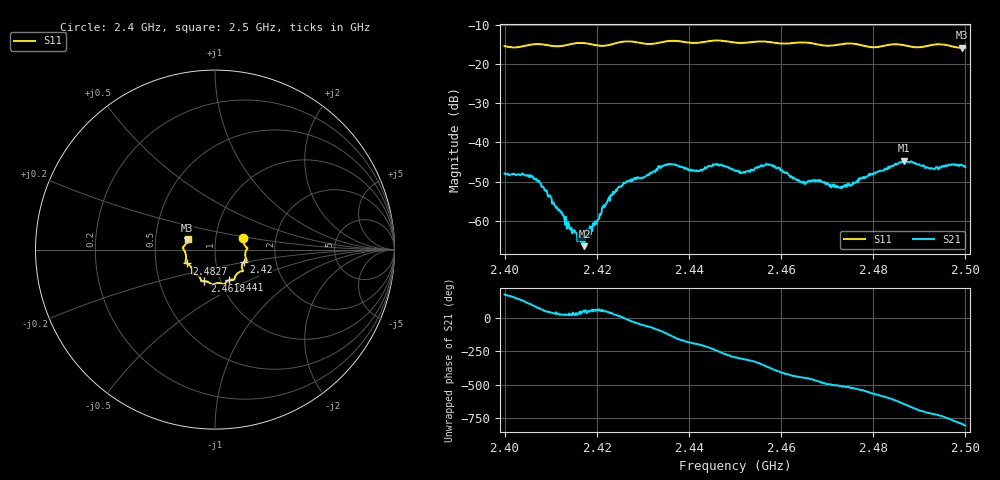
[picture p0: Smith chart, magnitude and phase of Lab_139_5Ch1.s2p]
# Hz S RI R 50
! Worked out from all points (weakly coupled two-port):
!   601 points, 2.4 GHz to 2.5 GHz, reference 50 ohm
!   highest |S21| = -44.67 dB at 2.4867 GHz (marker M1); lowest = -66.5 dB at 2.4173 GHz (marker M2)
!   lowest |S11| = -15.8 dB at 2.4993 GHz (marker M3), VSWR 1.39, Z = 36.5 + j3.84 ohm
!   |S11| at or under -10 dB: start of sweep to end of sweep
!   S12 and S22 are empty: the file has one direction only
!   S11 on the Smith chart (normalised r, x): 2.4 GHz: 1.36, +0.18; 2.42 GHz: 1.36, -0.20; 2.441 GHz: 1.10, -0.39; 2.4618 GHz: 0.84, -0.30; 2.4827 GHz: 0.72, -0.12; 2.5 GHz: 0.73, +0.09
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2.4e9  0.1585 0.0628  -0.00399 0.000376  0 0  0 0
2.407333e9  0.1809 0.008  0.000865 0.00304  0 0  0 0
2.414e9  0.1721 -0.049  0.000729 0.000464  0 0  0 0
2.416667e9  0.1773 -0.0609  0.000422 0.000423  0 0  0 0
2.417333e9  0.1758 -0.0617  0.000342 0.000326  0 0  0 0
2.42e9  0.1597 -0.0703  0.000454 0.00083  0 0  0 0
2.424667e9  0.1533 -0.1113  0.0026 0.000639  0 0  0 0
2.433333e9  0.1115 -0.1508  5.77e-05 -0.00495  0 0  0 0
2.436167e9  0.1088 -0.1668  -0.00363 -0.00381  0 0  0 0
2.441e9  0.0786 -0.1699  -0.00424 0.000923  0 0  0 0
2.445833e9  0.0501 -0.195  -0.00237 0.00475  0 0  0 0
2.45e9  0.0285 -0.1873  0.00199 0.0039  0 0  0 0
2.457167e9  -0.0207 -0.1924  0.00509 -0.00085  0 0  0 0
2.461833e9  -0.0593 -0.1754  0.00149 -0.00343  0 0  0 0
2.466667e9  -0.0787 -0.1682  -0.000614 -0.00315  0 0  0 0
2.473167e9  -0.1215 -0.1346  -0.00233 -0.0012  0 0  0 0
2.482667e9  -0.1557 -0.0771  -0.00277 0.00377  0 0  0 0
2.483333e9  -0.1602 -0.0752  -0.00237 0.00432  0 0  0 0
2.486667e9  -0.1638 -0.0626  0.00157 0.00562  0 0  0 0
2.492833e9  -0.1768 0.00393  0.00461 0.00011  0 0  0 0
2.499333e9  -0.1541 0.0512  0.00123 -0.00494  0 0  0 0
2.5e9  -0.1523 0.0606  0.000299 -0.00484  0 0  0 0
